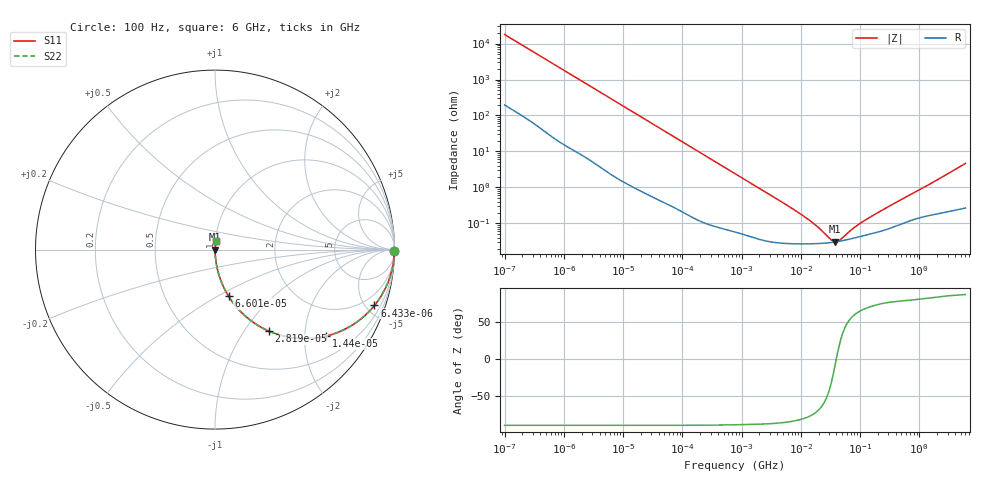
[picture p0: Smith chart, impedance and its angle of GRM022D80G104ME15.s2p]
!Murata Part Number: GRM022D80G104ME15
!These Parameters are Measured in Series Mode Connection
!Data Generated on Mar 30, 2021
!  o--ll--o
!Port1  Port2
!  o------o
!Operation Temp=25[degC], DC Bias Voltage=0[V]
!Freq. Start=100[Hz] Stop=6[GHz] 401[Steps]
# Hz S RI R 50
!Freq.(Hz) S11(Real) S11(Imag) S21(Real) S21(Imag) S12(Real) S12(Imag) S22(Real) S22(Imag)
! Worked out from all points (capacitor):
!   401 points, 100 Hz to 6 GHz, reference 50 ohm
!   read as one part in series: C = 88.9 nF near 109 Hz
!   lowest |Z| = 30.8 mohm at 38.09 MHz (marker M1)
!   series resonance near 39.77 MHz, so ESL is about 180 pH
!   S11 on the Smith chart (normalised r, x): 100 Hz: open; 6.433 kHz: 1.04, -5.69; 14.4 kHz: 1.02, -2.55; 28.19 kHz: 1.01, -1.31; 66 kHz: 1.01, -0.56; 6 GHz: 1.01, +0.09
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100  0.9999 -0.0056  9.27e-05 0.0056  9.27e-05 0.0056  0.9999 -0.0056
627  0.9985 -0.0346  0.00151 0.0346  0.00151 0.0346  0.9985 -0.0346
2008  0.987 -0.1089  0.013 0.1089  0.013 0.1089  0.987 -0.1089
3931  0.9542 -0.205  0.0458 0.205  0.0458 0.205  0.9542 -0.205
6433  0.8882 -0.3113  0.1118 0.3113  0.1118 0.3113  0.8882 -0.3113
9626  0.7821 -0.4089  0.2179 0.4089  0.2179 0.4089  0.7821 -0.4089
14402  0.6183 -0.4818  0.3817 0.4818  0.3817 0.4818  0.6183 -0.4818
19704  0.466 -0.4946  0.534 0.4946  0.534 0.4946  0.466 -0.4946
28191  0.301 -0.4542  0.699 0.4542  0.699 0.4542  0.301 -0.4542
40335  0.1756 -0.3757  0.8244 0.3757  0.8244 0.3757  0.1756 -0.3757
66005  0.0754 -0.2587  0.9246 0.2587  0.9246 0.2587  0.0754 -0.2587
184852  0.0113 -0.0996  0.9887 0.0996  0.9887 0.0996  0.0113 -0.0996
774597  0.00117 -0.0243  0.9988 0.0243  0.9988 0.0243  0.00117 -0.0243
6075234  0.000284 -0.00307  0.9997 0.00307  0.9997 0.00307  0.000284 -0.00307
1.555665e7  0.000272 -0.00103  0.9997 0.00103  0.9997 0.00103  0.000272 -0.00103
3.184506e7  0.000293 -0.00021  0.9997 0.00021  0.9997 0.00021  0.000293 -0.00021
3.80911e7  0.000305 -4e-05  0.9997 4e-05  0.9997 4e-05  0.000305 -4e-05
4.556224e7  0.00032 0.000125  0.9997 -0.000125  0.9997 -0.000125  0.00032 0.000125
7.455971e7  0.000382 0.00059  0.9996 -0.00059  0.9996 -0.00059  0.000382 0.00059
1.066761e8  0.000443 0.000975  0.9996 -0.000975  0.9996 -0.000975  0.000443 0.000975
3.124326e8  0.000728 0.00293  0.9993 -0.00293  0.9993 -0.00293  0.000728 0.00293
6e9  0.00478 0.046  0.9952 -0.046  0.9952 -0.046  0.00478 0.046
